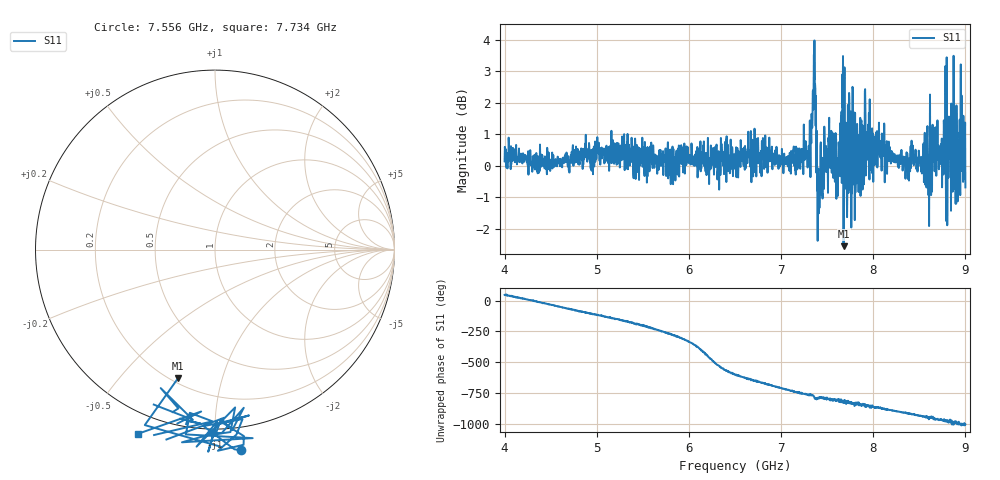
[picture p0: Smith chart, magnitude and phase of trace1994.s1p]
! Created with skrf 1.8.0 (http://scikit-rf.org).
# Hz S RI R 50.0
!freq ReS11 ImS11
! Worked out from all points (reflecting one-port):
!   1601 points, 4 GHz to 9 GHz, reference 50 ohm
!   lowest |S11| = -2.6 dB at 7.678 GHz (marker M1), VSWR 6.86, Z = 11.3 - j36.4 ohm
!   phase of S11 starts at 46 deg and turns -1051 deg over the sweep
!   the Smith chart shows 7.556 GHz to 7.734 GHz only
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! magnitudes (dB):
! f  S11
! 4 GHz  0.1
! 4.625 GHz  0.0
! 5.25 GHz  -0.1
! 5.875 GHz  0.3
! 6.5 GHz  0.1
! 7.125 GHz  0.4
! 7.294 GHz  0.3
! 7.353 GHz  2.4
! 7.369 GHz  2.6
! 7.4 GHz  -0.3
! 7.422 GHz  -0.6
! 7.519 GHz  0.9
! 7.616 GHz  -1.0
! 7.65 GHz  1.6
! 7.678 GHz  -2.6
! 7.703 GHz  -0.1
! 7.75 GHz  -0.8
! 7.825 GHz  1.3
! 7.928 GHz  1.1
! 8.375 GHz  0.1
! 8.566 GHz  0.9
! 8.616 GHz  2.3
! 8.666 GHz  -0.2
! 8.766 GHz  1.4
! 8.775 GHz  1.4
! 8.919 GHz  -0.3
! 8.959 GHz  2.2
! 9 GHz  -0.7
